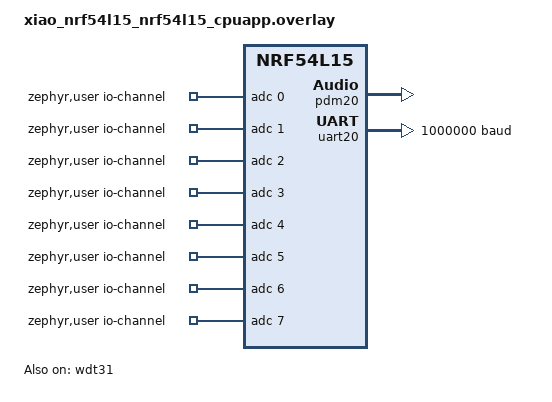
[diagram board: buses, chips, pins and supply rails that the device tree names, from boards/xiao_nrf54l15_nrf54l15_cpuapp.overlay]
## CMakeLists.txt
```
# 1. Required version (you just fixed this)
cmake_minimum_required(VERSION 3.21)

# 2. Pull in the Zephyr build system
find_package(Zephyr REQUIRED HINTS $ENV{ZEPHYR_BASE})

# 3. Name your project
project(dmic)

# 4. CRITICAL: Tell Zephyr where the code is
# Change "src/main.cpp" to "src/main.c" if you are using C
target_sources(app PRIVATE src/main.c)
```

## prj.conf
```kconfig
#CONFIG_LOG=y
#CONFIG_LOG_MODE_IMMEDIATE=y
#CONFIG_LOG_BACKEND_UART=y
#CONFIG_PRINTK=y
#CONFIG_CONSOLE=y
#CONFIG_UART_CONSOLE=y

# --- BAUD RATE (Must match app.overlay) ---
#CONFIG_SERIAL=y

# --- HARDWARE ---
#CONFIG_GPIO=y
#CONFIG_AUDIO=y
#CONFIG_AUDIO_DMIC=y

# --- MEMORY ---
#CONFIG_MAIN_STACK_SIZE=4096
#CONFIG_HEAP_MEM_POOL_SIZE=8192
# Enable C++ (Required for TFLite)
#CONFIG_CPP=y
#CONFIG_STD_CPP17=y
# Enable Floating Point Unit (FPU) for speed
#CONFIG_FPU=y

# Enable TensorFlow Lite Micro
#CONFIG_TENSORFLOW_LITE_MICRO=y
#CONFIG_NEWLIB_LIBC=y
# Enable C++ support (Required for TFLite to build)

#CONFIG_STD_CPP17=y

# --- LOGGING & CONSOLE ---
CONFIG_LOG=y
CONFIG_LOG_MODE_IMMEDIATE=y
CONFIG_PRINTK=y
CONFIG_CONSOLE=y
CONFIG_UART_CONSOLE=y
CONFIG_SERIAL=y
CONFIG_GPIO=y

# --- AUDIO ---
CONFIG_AUDIO=y
CONFIG_AUDIO_DMIC=y

# --- MEMORY (AI needs this) ---
CONFIG_MAIN_STACK_SIZE=8192
CONFIG_HEAP_MEM_POOL_SIZE=16384
CONFIG_SYSTEM_WORKQUEUE_STACK_SIZE=4096

# --- C++ & AI SUPPORT (The Critical Part) ---
CONFIG_CPP=y
CONFIG_STD_CPP17=y
CONFIG_FPU=y

# REQUIRED: Tell Zephyr to use the full C++ Standard Library
CONFIG_GLIBCXX_LIBCPP=y
CONFIG_NEWLIB_LIBC=y

# Enable TensorFlow
CONFIG_TENSORFLOW_LITE_MICRO=y
```

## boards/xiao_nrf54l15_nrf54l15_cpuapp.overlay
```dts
/ {
	zephyr,user {
		io-channels = <&adc 0>, <&adc 1>, <&adc 2>, <&adc 3>,
			<&adc 4>, <&adc 5>, <&adc 6>, <&adc 7>;
	};
};

&wdt31 {
	status = "okay";
};

dmic_dev: &pdm20 {
    status = "okay";
};

&uart20 {
    current-speed = <1000000>;
	//current-speed = <460800>;
};
```

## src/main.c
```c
/* * main.cpp - Fixed Active-Low LED Logic
 * Natural State: OFF (High)
 * Recording State: ON (Low) during the 1.0s window
 */

#include <zephyr/kernel.h>
#include <zephyr/audio/dmic.h>
#include <zephyr/drivers/gpio.h>
#include <zephyr/sys/printk.h>
#include <string.h>

#define SAMPLE_RATE     16000
#define TOTAL_SAMPLES   24000 // 1.5s
#define DISCARD_SAMPLES 8000  // 0.5s
#define BLOCK_SIZE      2048

static const struct device *const dmic_dev = DEVICE_DT_GET(DT_NODELABEL(dmic_dev));
static const struct gpio_dt_spec button = GPIO_DT_SPEC_GET(DT_ALIAS(sw0), gpios);
static const struct gpio_dt_spec led = GPIO_DT_SPEC_GET(DT_ALIAS(led0), gpios);

// DEFINING THE INVERSION CLEARLY
// For Active-Low: 0 is LIGHT, 1 is DARK
#define MY_LED_ON  0
#define MY_LED_OFF 1

int16_t rx_buffer[TOTAL_SAMPLES]; 
K_MEM_SLAB_DEFINE_STATIC(mem_slab, BLOCK_SIZE, 4, 4);

void send_data_to_python() {
    printk("---START_DATA---\n");
    for (int i = DISCARD_SAMPLES; i < TOTAL_SAMPLES; i++) {
        printk("%d\n", rx_buffer[i]);
        if (i % 100 == 0) k_busy_wait(50); 
    }
    printk("---END_DATA---\n");
}

void record_clip() {
    uint32_t samples_collected = 0;
    
    // Ensure LED is OFF before starting
    gpio_pin_set_dt(&led, MY_LED_OFF); 

    struct dmic_cfg cfg = {
        .io = {.min_pdm_clk_freq = 1000000, .max_pdm_clk_freq = 3500000},
        .streams = &(struct pcm_stream_cfg){
            .pcm_rate = SAMPLE_RATE, .pcm_width = 16, .block_size = BLOCK_SIZE, .mem_slab = &mem_slab
        },
        .channel = {.req_num_streams = 1, .req_num_chan = 1, .req_chan_map_lo = dmic_build_channel_map(0, 0, PDM_CHAN_LEFT)}
    };
    dmic_configure(dmic_dev, &cfg);
    dmic_trigger(dmic_dev, DMIC_TRIGGER_START);

    while (samples_collected < TOTAL_SAMPLES) {
        void *buffer;
        uint32_t size;
        int ret = dmic_read(dmic_dev, 0, &buffer, &size, 1000);
        
        if (ret == 0) {
            uint32_t num_new_samples = size / sizeof(int16_t);
            if (samples_collected + num_new_samples <= TOTAL_SAMPLES) {
                memcpy(&rx_buffer[samples_collected], buffer, size);
            }
            samples_collected += num_new_samples;

            // --- THE 1.0s WINDOW LOGIC ---
            if (samples_collected >= DISCARD_SAMPLES && samples_collected < TOTAL_SAMPLES) {
                gpio_pin_set_dt(&led, MY_LED_ON); // ON (0)
            } else {
                gpio_pin_set_dt(&led, MY_LED_OFF); // OFF (1)
            }
            
            k_mem_slab_free(&mem_slab, buffer);
        }
    }

    dmic_trigger(dmic_dev, DMIC_TRIGGER_STOP);
    
    // Final force OFF
    gpio_pin_set_dt(&led, MY_LED_OFF); 
    
    send_data_to_python();
}

int main(void) {
    k_msleep(1000);
    if (!device_is_ready(dmic_dev) || !gpio_is_ready_dt(&button) || !gpio_is_ready_dt(&led)) return 0;
    
    gpio_pin_configure_dt(&button, GPIO_INPUT);
    
    // CRITICAL: Initialize as OUTPUT_HIGH so it starts in the OFF state
    gpio_pin_configure_dt(&led, GPIO_OUTPUT_HIGH); 

    while (1) {
        // Double-check the LED stays OFF while idling
        gpio_pin_set_dt(&led, MY_LED_OFF);

        if (gpio_pin_get_dt(&button) > 0) {
            record_clip();
            // Debounce delay
            k_msleep(500); 
        }
        k_msleep(50);
    } 
}
```
